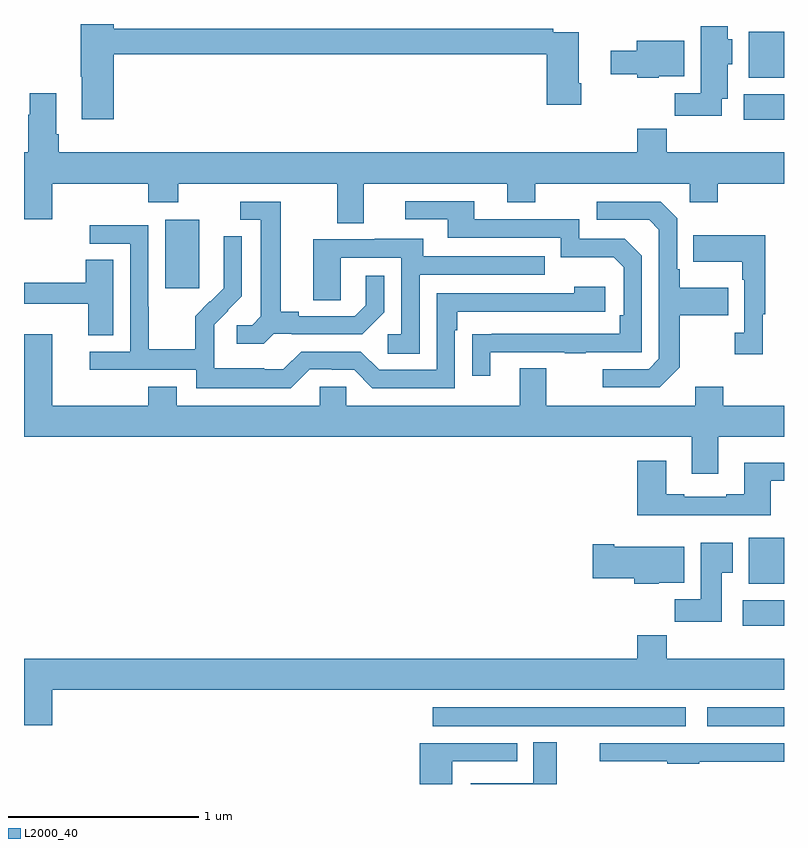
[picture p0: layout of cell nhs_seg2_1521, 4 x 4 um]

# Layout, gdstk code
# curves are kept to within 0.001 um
import gdstk
lib = gdstk.Library(unit=1e-6, precision=1e-09)
def R(c, l, rs):  # rectangles x0, y0, x1, y1
    for r in rs: c.add(gdstk.rectangle(r[:2], r[2:], *l))
def P(c, l, *ps):  # polygons
    for p in ps: c.add(gdstk.Polygon(p, *l))
L2000_40 = (2000, 40)

nhs_seg2_1521 = lib.new_cell('nhs_seg2_1521')
R(nhs_seg2_1521, L2000_40, [(191.151,654.104,192.484,654.205), (192.597,654.104,193,654.205), (192.783,654.632,193,654.766), (192.815,654.854,193,655.096), (189.743,656.409,189.922,656.77), (192.788,657.296,193,657.43), (192.815,657.518,193,657.76)])
P(nhs_seg2_1521, L2000_40, [(189.473,657.64),(191.75,657.64),(191.75,657.375),(191.933,657.375),(191.933,657.487),(191.92,657.487),(191.92,657.756),(191.786,657.756),(191.786,657.776),(189.473,657.776),(189.473,657.8),(189.298,657.8),(189.298,657.523),(189.305,657.523),(189.305,657.3),(189.473,657.3)],
  [(192.673,657.407),(192.703,657.407),(192.703,657.588),(192.727,657.588),(192.727,657.72),(192.703,657.72),(192.703,657.787),(192.563,657.787),(192.563,657.436),(192.424,657.436),(192.424,657.318),(192.673,657.318)],
  [(192.342,657.524),(192.475,657.524),(192.475,657.712),(192.224,657.712),(192.224,657.658),(192.087,657.658),(192.087,657.536),(192.228,657.536),(192.228,657.518),(192.342,657.518)],
  [(189.169,657.22),(189.169,657.436),(189.029,657.436),(189.029,657.323),(189.022,657.323),(189.022,657.124),(189,657.124),(189,656.772),(189.148,656.772),(189.148,656.96),(189.653,656.96),(189.653,656.861),(189.813,656.861),(189.813,656.96),(190.649,656.96),(190.649,656.752),(190.789,656.752),(190.789,656.96),(191.543,656.96),(191.543,656.861),(191.691,656.861),(191.691,656.96),(192.504,656.96),(192.504,656.861),(192.651,656.861),(192.651,656.96),(193,656.96),(193,657.124),(192.383,657.124),(192.383,657.248),(192.227,657.248),(192.227,657.124),(189.182,657.124),(189.182,657.22)],
  [(191.455,656.073),(191.845,656.073),(191.845,656.068),(191.957,656.068),(191.957,656.073),(192.252,656.073),(192.252,656.58),(192.162,656.67),(191.922,656.67),(191.922,656.772),(191.371,656.772),(191.371,656.868),(191.007,656.868),(191.007,656.772),(191.231,656.772),(191.231,656.676),(191.826,656.676),(191.826,656.573),(192.103,656.573),(192.156,656.52),(192.156,656.266),(192.136,656.266),(192.136,656.169),(191.359,656.168),(191.359,655.95),(191.455,655.95)],
  [(190.314,656.169),(190.408,656.169),(190.408,656.166),(190.78,656.166),(190.896,656.282),(190.896,656.476),(190.799,656.476),(190.799,656.319),(190.742,656.262),(190.447,656.262),(190.447,656.285),(190.351,656.285),(190.351,656.865),(190.137,656.865),(190.137,656.769),(190.247,656.769),(190.247,656.261),(190.2,656.214),(190.119,656.214),(190.119,656.117),(190.262,656.117)],
  [(192.451,655.993),(192.451,656.266),(192.707,656.266),(192.707,656.413),(192.451,656.413),(192.451,656.509),(192.438,656.509),(192.438,656.778),(192.351,656.865),(192.015,656.865),(192.015,656.769),(192.291,656.769),(192.342,656.718),(192.342,656.037),(192.288,655.983),(192.045,655.983),(192.045,655.887),(192.345,655.887)],
  [(190.503,655.983),(190.619,655.983),(190.619,655.98),(190.737,655.98),(190.833,655.884),(191.268,655.884),(191.268,656.189),(191.281,656.189),(191.281,656.286),(192.058,656.286),(192.058,656.416),(191.897,656.416),(191.897,656.382),(191.172,656.382),(191.172,655.98),(190.869,655.98),(190.773,656.076),(190.458,656.076),(190.365,655.983),(190.265,655.983),(190.265,655.987),(190.002,655.987),(190.002,656.121),(190,656.121),(190,656.218),(190.146,656.366),(190.146,656.684),(190.05,656.684),(190.05,656.53),(190.052,656.53),(190.052,656.408),(189.981,656.337),(189.978,656.34),(189.901,656.263),(189.901,656.089),(189.657,656.089),(189.657,656.312),(189.654,656.312),(189.654,656.742),(189.345,656.742),(189.345,656.643),(189.558,656.643),(189.558,656.076),(189.345,656.076),(189.345,655.98),(189.906,655.98),(189.906,655.883),(190.403,655.883)],
  [(192.889,656.273),(192.901,656.273),(192.901,656.689),(192.523,656.689),(192.523,656.549),(192.78,656.549),(192.78,656.453),(192.792,656.453),(192.792,656.174),(192.741,656.174),(192.741,656.061),(192.889,656.061)],
  [(191.082,656.481),(191.741,656.481),(191.741,656.577),(191.101,656.577),(191.101,656.671),(190.847,656.671),(190.847,656.667),(190.523,656.667),(190.523,656.347),(190.668,656.347),(190.668,656.571),(190.986,656.571),(190.986,656.166),(190.914,656.166),(190.914,656.065),(191.082,656.065)],
  [(189.469,656.558),(189.326,656.558),(189.326,656.437),(189,656.437),(189,656.327),(189.338,656.327),(189.338,656.161),(189.469,656.161)],
  [(192.655,655.628),(193,655.628),(193,655.792),(192.681,655.792),(192.681,655.891),(192.533,655.891),(192.533,655.792),(191.749,655.792),(191.749,655.987),(191.609,655.987),(191.609,655.792),(190.695,655.792),(190.695,655.89),(190.557,655.89),(190.557,655.792),(189.805,655.792),(189.805,655.891),(189.653,655.891),(189.653,655.792),(189.148,655.792),(189.148,656.167),(189,656.167),(189,655.628),(192.515,655.628),(192.515,655.434),(192.655,655.434)],
  [(192.931,655.395),(193,655.395),(193,655.492),(192.791,655.492),(192.791,655.324),(192.695,655.324),(192.695,655.311),(192.475,655.311),(192.475,655.324),(192.379,655.324),(192.379,655.501),(192.227,655.501),(192.227,655.214),(192.931,655.214)],
  [(192.673,654.913),(192.73,654.913),(192.73,655.069),(192.563,655.069),(192.563,654.772),(192.424,654.772),(192.424,654.654),(192.673,654.654)],
  [(192.342,654.86),(192.475,654.86),(192.475,655.048),(192.106,655.048),(192.106,655.061),(191.994,655.061),(191.994,654.883),(192.212,654.883),(192.212,654.854),(192.342,654.854)],
  [(189.148,654.296),(193,654.296),(193,654.46),(192.383,654.46),(192.383,654.584),(192.227,654.584),(192.227,654.46),(189,654.46),(189,654.108),(189.148,654.108)],
  [(191.803,654.019),(191.681,654.019),(191.681,653.803),(191.351,653.803),(191.351,653.8),(191.803,653.8)],
  [(191.254,653.919),(191.596,653.919),(191.596,654.015),(191.084,654.015),(191.084,653.8),(191.254,653.8)],
  [(192.554,653.918),(193,653.918),(193,654.015),(192.03,654.015),(192.03,653.919),(192.385,653.919),(192.385,653.907),(192.554,653.907)])

lib.write_gds('nhs_seg2_1521.gds')
